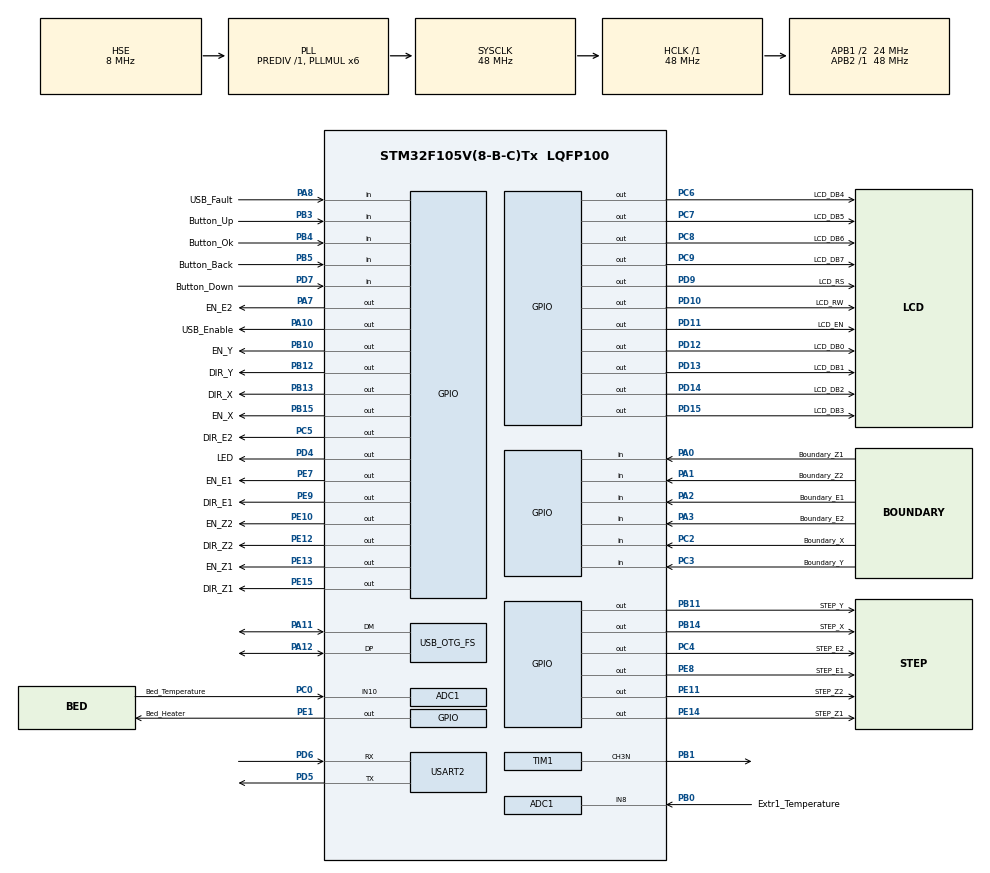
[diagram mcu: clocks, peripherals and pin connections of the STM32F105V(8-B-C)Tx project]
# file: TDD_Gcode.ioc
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ADC1.Channel-2\#ChannelRegularConversion=ADC_CHANNEL_8
ADC1.EnableRegularConversion=ENABLE
ADC1.NbrOfConversionFlag=1
ADC1.Rank-2\#ChannelRegularConversion=1
ADC1.SamplingTime-2\#ChannelRegularConversion=ADC_SAMPLETIME_1CYCLE_5
ADC1.master=1
FATFS._CODE_PAGE=866
FATFS._MAX_SS=4096
FATFS._USE_LFN=1
Mcu.Family=STM32F1
Mcu.Name=STM32F105V(8-B-C)Tx
Mcu.Package=LQFP100
NVIC.OTG_FS_IRQn=true\:0\:0\:false\:false\:true\:false\:true
NVIC.PriorityGroup=NVIC_PRIORITYGROUP_4
NVIC.TIM3_IRQn=true\:1\:0\:true\:false\:true\:true\:true
NVIC.TIM4_IRQn=true\:0\:0\:true\:false\:true\:true\:true
NVIC.TIM5_IRQn=true\:0\:0\:false\:false\:true\:true\:true
NVIC.TIM6_IRQn=true\:0\:0\:false\:false\:true\:true\:true
NVIC.TIM7_IRQn=true\:0\:0\:false\:false\:true\:true\:true
OSC_IN.Mode=HSE-External-Oscillator
OSC_IN.Signal=RCC_OSC_IN
OSC_OUT.Mode=HSE-External-Oscillator
OSC_OUT.Signal=RCC_OSC_OUT
PA0-WKUP.GPIO_Label=Boundary_Z1
PA0-WKUP.GPIO_PuPd=GPIO_PULLUP
PA0-WKUP.Signal=GPIO_Input
PA1.GPIO_Label=Boundary_Z2
PA1.GPIO_PuPd=GPIO_PULLUP
PA1.Signal=GPIO_Input
PA10.GPIO_Label=USB_Enable
PA10.Signal=GPIO_Output
PA11.Mode=Host_Only
PA11.Signal=USB_OTG_FS_DM
PA12.Mode=Host_Only
PA12.Signal=USB_OTG_FS_DP
PA13.Mode=Serial_Wire
PA13.Signal=SYS_JTMS-SWDIO
PA14.Mode=Serial_Wire
PA14.Signal=SYS_JTCK-SWCLK
PA2.GPIO_Label=Boundary_E1
PA2.GPIO_PuPd=GPIO_PULLUP
PA2.Signal=GPIO_Input
PA3.GPIO_Label=Boundary_E2
PA3.GPIO_PuPd=GPIO_PULLUP
PA3.Signal=GPIO_Input
PA7.GPIO_Label=EN_E2
PA7.Signal=GPIO_Output
PA8.GPIO_Label=USB_Fault
PA8.Signal=GPIO_Input
PB0.GPIO_Label=Extr1_Temperature
PB0.Signal=ADCx_IN8
PB1.Mode=PWM Generation3 CH3N
PB1.Signal=TIM1_CH3N
PB10.GPIO_Label=EN_Y
PB10.Signal=GPIO_Output
PB11.GPIO_Label=STEP_Y
PB11.Signal=GPIO_Output
PB12.GPIO_Label=DIR_Y
PB12.Signal=GPIO_Output
PB13.GPIO_Label=DIR_X
PB13.Signal=GPIO_Output
PB14.GPIO_Label=STEP_X
PB14.Signal=GPIO_Output
PB15.GPIO_Label=EN_X
PB15.Signal=GPIO_Output
PB3.GPIO_Label=Button_Up
PB3.GPIO_PuPd=GPIO_PULLDOWN
PB3.Signal=GPIO_Input
PB4.GPIO_Label=Button_Ok
PB4.GPIO_PuPd=GPIO_PULLDOWN
PB4.Signal=GPIO_Input
PB5.GPIO_Label=Button_Back
PB5.GPIO_PuPd=GPIO_PULLDOWN
PB5.Signal=GPIO_Input
PC0.GPIO_Label=Bed_Temperature
PC0.Signal=ADCx_IN10
PC2.GPIO_Label=Boundary_X
PC2.GPIO_PuPd=GPIO_PULLUP
PC2.Signal=GPIO_Input
PC3.GPIO_Label=Boundary_Y
PC3.GPIO_PuPd=GPIO_PULLUP
PC3.Signal=GPIO_Input
PC4.GPIO_Label=STEP_E2
PC4.Signal=GPIO_Output
PC5.GPIO_Label=DIR_E2
PC5.Signal=GPIO_Output
PC6.GPIO_Label=LCD_DB4
PC6.Signal=GPIO_Output
PC7.GPIO_Label=LCD_DB5
PC7.Signal=GPIO_Output
PC8.GPIO_Label=LCD_DB6
PC8.Signal=GPIO_Output
PC9.GPIO_Label=LCD_DB7
PC9.Signal=GPIO_Output
PD10.GPIO_Label=LCD_RW
PD10.Signal=GPIO_Output
PD11.GPIO_Label=LCD_EN
PD11.Signal=GPIO_Output
PD12.GPIO_Label=LCD_DB0
PD12.Signal=GPIO_Output
PD13.GPIO_Label=LCD_DB1
PD13.Signal=GPIO_Output
PD14.GPIO_Label=LCD_DB2
PD14.Signal=GPIO_Output
PD15.GPIO_Label=LCD_DB3
PD15.Signal=GPIO_Output
PD4.GPIO_Label=LED
PD4.Signal=GPIO_Output
PD5.Mode=Asynchronous
PD5.Signal=USART2_TX
PD6.GPIO_PuPd=GPIO_NOPULL
PD6.Mode=Asynchronous
PD6.Signal=USART2_RX
PD7.GPIO_Label=Button_Down
PD7.GPIO_PuPd=GPIO_PULLDOWN
PD7.Signal=GPIO_Input
PD9.GPIO_Label=LCD_RS
PD9.Signal=GPIO_Output
PE1.GPIO_Label=Bed_Heater
PE1.Signal=GPIO_Output
PE10.GPIO_Label=EN_Z2
PE10.Signal=GPIO_Output
PE11.GPIO_Label=STEP_Z2
PE11.Signal=GPIO_Output
PE12.GPIO_Label=DIR_Z2
PE12.Signal=GPIO_Output
PE13.GPIO_Label=EN_Z1
PE13.Signal=GPIO_Output
PE14.GPIO_Label=STEP_Z1
PE14.Signal=GPIO_Output
PE15.GPIO_Label=DIR_Z1
PE15.Signal=GPIO_Output
PE7.GPIO_Label=EN_E1
PE7.Signal=GPIO_Output
PE8.GPIO_Label=STEP_E1
PE8.Signal=GPIO_Output
PE9.GPIO_Label=DIR_E1
PE9.Signal=GPIO_Output
ProjectManager.HeapSize=0x200
ProjectManager.StackSize=0x400
ProjectManager.TargetToolchain=Makefile
RCC.ADCPresc=RCC_ADCPCLK2_DIV4
RCC.AHBFreq_Value=48000000
RCC.APB1CLKDivider=RCC_HCLK_DIV2
RCC.APB1Freq_Value=24000000
RCC.APB1TimFreq_Value=48000000
RCC.APB2Freq_Value=48000000
RCC.APB2TimFreq_Value=48000000
RCC.HCLKFreq_Value=48000000
RCC.HSICalibrationValue=8
RCC.PLLMUL=RCC_PLL_MUL6
RCC.SYSCLKFreq_VALUE=48000000
RCC.SYSCLKSource=RCC_SYSCLKSOURCE_PLLCLK
RCC.USBFreq_Value=48000000
RCC.USBPrescaler=RCC_USBCLKSOURCE_PLL_DIV2
SH.ADCx_IN10.0=ADC1_IN10,IN10
SH.ADCx_IN8.0=ADC1_IN8,IN8
TIM1.AutoReloadPreload=TIM_AUTORELOAD_PRELOAD_ENABLE
TIM1.Channel-PWM\ Generation3\ CH3N=TIM_CHANNEL_3
TIM1.Prescaler=11
TIM3.Period=100
TIM3.Prescaler=80
TIM4.Period=100
TIM4.Prescaler=10
TIM5.Period=8000
TIM5.Prescaler=600
TIM6.AutoReloadPreload=TIM_AUTORELOAD_PRELOAD_ENABLE
TIM6.Period=10000
TIM6.Prescaler=720
TIM7.AutoReloadPreload=TIM_AUTORELOAD_PRELOAD_ENABLE
TIM7.Period=100
TIM7.Prescaler=71
USART2.VirtualMode=VM_ASYNC
USB_HOST.BSP.number=1
USB_HOST.USBH_DEBUG_LEVEL=3
USB_HOST.USBH_HandleTypeDef=hUsbHostFS
USB_HOST.VirtualModeFS=Msc
USB_HOST0.BSP.STBoard=false
USB_HOST0.BSP.api=Unknown
USB_HOST0.BSP.i2caddr=0
USB_HOST0.BSP.instance=PA10
USB_HOST0.BSP.ip=GPIO
USB_HOST0.BSP.mode=Output
USB_HOST0.BSP.name=Drive_VBUS_FS
USB_HOST0.BSP.solution=PA10
USB_OTG_FS.Sof_enable=ENABLE
USB_OTG_FS.VirtualMode=Host_Only
USB_OTG_FS.speed=HCD_SPEED_FULL
VP_FATFS_VS_USB.Mode=USB
VP_TIM1_VS_ClockSourceINT.Mode=Internal
VP_TIM3_VS_ClockSourceINT.Mode=Internal
VP_TIM4_VS_ClockSourceINT.Mode=Internal
VP_TIM5_VS_ClockSourceINT.Mode=Internal
VP_TIM6_VS_ClockSourceINT.Mode=Enable_Timer
VP_TIM7_VS_ClockSourceINT.Mode=Enable_Timer
VP_USB_HOST_VS_USB_HOST_MSC_FS.Mode=MSC_FS
board=custom

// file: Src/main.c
/* USER CODE BEGIN Header */
/**
  ******************************************************************************
  * @file           : main.c
  * @brief          : Main program body
  ******************************************************************************
  * @attention
  *
  * <h2><center>&copy; Copyright (c) 2020 STMicroelectronics.
  * All rights reserved.</center></h2>
  *
  * This software component is licensed by ST under Ultimate Liberty license
  * SLA0044, the "License"; You may not use this file except in compliance with
  * the License. You may obtain a copy of the License at:
  *                             www.st.com/SLA0044
  *
  ******************************************************************************
  */
/* USER CODE END Header */
#include "main.h"
#include "adc.h"
#include "fatfs.h"
#include "tim.h"
#include "usart.h"
#include "usb_host.h"
#include "gpio.h"

/* USER CODE BEGIN Includes */
#include <wchar.h>

#include "TextConverter_LCD.h"
#include "MainMenu_Menu.h"
#include "Constructor_Menu.h"
#include "State_USBdrive.h"
#include "Driver_USBdrive.h"

#include "GcodeConverter_Gcode.h"
#include "Descritization_Gcode.h"
#include "Buffer_Gcode.h"
#include "VirtualPrinters_Gcode.h"
#include "temperature.h"
#include "coordinates.h"
#include "Driver_Motors.h"
#include "Boundary_Gcode.h"
/* USER CODE END Includes */

/* USER CODE BEGIN PV */
static uint8_t bed_pwm = 0;
command_Gcode current_command_Gcode;
/* USER CODE END PV */

void SystemClock_Config(void);
void MX_USB_HOST_Process(void);

/* USER CODE BEGIN 0 */
#if defined(__GNUC__)
int _write(int fd, char * ptr, int len)
{
  HAL_UART_Transmit(&huart2, (uint8_t *) ptr, len, HAL_MAX_DELAY);
  return len;
}
#elif defined (__ICCARM__)
#include "LowLevelIOInterface.h"
size_t __write(int handle, const unsigned char * buffer, size_t size)
{
  HAL_UART_Transmit(&huart2, (uint8_t *) buffer, size, HAL_MAX_DELAY);
  return size;
}
#elif defined (__CC_ARM)
int fputc(int ch, FILE *f)
{
    HAL_UART_Transmit(&huart2, (uint8_t *)&ch, 1, HAL_MAX_DELAY);
    return ch;
}
#endif
/* USER CODE END 0 */

int main(void)
{

  /* MCU Configuration--------------------------------------------------------*/

  /* Reset of all peripherals, Initializes the Flash interface and the Systick. */
  HAL_Init();

  /* Configure the system clock */
  SystemClock_Config();

  /* Initialize all configured peripherals */
  MX_GPIO_Init();
  MX_USART2_UART_Init();
  MX_FATFS_Init();
  MX_USB_HOST_Init();
  MX_TIM3_Init();
  MX_TIM4_Init();
  MX_TIM5_Init();
  MX_ADC1_Init();
  MX_TIM1_Init();
  MX_TIM6_Init();
  MX_TIM7_Init();
  /* USER CODE BEGIN 2 */
  HAL_TIM_Base_Start_IT(&htim3);
  HAL_NVIC_EnableIRQ(TIM3_IRQn);
  HAL_TIM_Base_Start_IT(&htim4);
  HAL_NVIC_EnableIRQ(TIM4_IRQn);
  create_coordinates();
  HAL_TIM_Base_Start_IT(&htim5);
  HAL_NVIC_EnableIRQ(TIM5_IRQn);

  HAL_TIM_Base_Start(&htim1);
  HAL_TIMEx_PWMN_Start(&htim1, TIM_CHANNEL_3);

  HAL_TIM_Base_Start_IT(&htim6);
  HAL_TIM_Base_Start_IT(&htim7);

  createGcodeConverter_Gcode();
  createDescretization_Gcode();
  createDescreteCommandBuffer_Gcode();
  createCommandBuffer_Gcode();
  virtualPrintersCreate_Gcode();

  HAL_Delay(500);
  create_TextConverter_LCD();
  setMainMenu_Menu();
  createState_USBdrive();
  createDriver_USBdrive();
  init_Temperature();
  createBoundary_Gcode();

  putLine_TextConverter_LCD(getTitle_Menu(), 1);  updateLine_TextConverter_LCD(1);
  wchar_t* currName = (wchar_t*) getName_Menu();  currName[0] = *L">";
  putLine_TextConverter_LCD(currName, 2);         updateLine_TextConverter_LCD(2);  currName[0] = *L" ";
  moveDown_Menu();
  putLine_TextConverter_LCD(getName_Menu(), 3);   updateLine_TextConverter_LCD(3);
  moveDown_Menu();
  putLine_TextConverter_LCD(getName_Menu(), 4);   updateLine_TextConverter_LCD(4);
  moveToTheFirstNode_Menu();

//__HAL_TIM_SET_COMPARE(&htim1, TIM_CHANNEL_3, 50000);
  /*
  for (uint16_t i=0; i<65535; i++){
    __HAL_TIM_SET_COMPARE(&htim1, TIM_CHANNEL_3, i);
    HAL_Delay(1);
  }
  */

  /* USER CODE END 2 */

  /* Infinite loop */
  /* USER CODE BEGIN WHILE */
  //setExtruder1_Temperature(220);
  //setBed_Temperature(60);
  disable_Motors();
  while (1)
  {
    /* USER CODE END WHILE */
    MX_USB_HOST_Process();

    /* USER CODE BEGIN 3 */
    if (HAL_GPIO_ReadPin(Button_Down_GPIO_Port, Button_Down_Pin) & GPIO_PIN_SET)  getCurrentNode_Menu()->pfnDown();
    if (HAL_GPIO_ReadPin(Button_Up_GPIO_Port, Button_Up_Pin) & GPIO_PIN_SET)      getCurrentNode_Menu()->pfnUp();
    if (HAL_GPIO_ReadPin(Button_Ok_GPIO_Port, Button_Ok_Pin) & GPIO_PIN_SET)      getCurrentNode_Menu()->pfnOk();
    if (HAL_GPIO_ReadPin(Button_Back_GPIO_Port, Button_Back_Pin) & GPIO_PIN_SET)  getCurrentNode_Menu()->pfnBack();

    if (getState_USBdrive() == READY_USBDRIVE)  HAL_GPIO_WritePin(LED_GPIO_Port, LED_Pin, GPIO_PIN_SET);
    else                                        HAL_GPIO_WritePin(LED_GPIO_Port, LED_Pin, GPIO_PIN_RESET);
    //printf("%d %d\n", (uint8_t)getExtruder1_Temperature(), (uint8_t)getBed_Temperature());
    //HAL_Delay(100);

  }
  /* USER CODE END 3 */
}

void SystemClock_Config(void)
{
  RCC_OscInitTypeDef RCC_OscInitStruct = {0};
  RCC_ClkInitTypeDef RCC_ClkInitStruct = {0};
  RCC_PeriphCLKInitTypeDef PeriphClkInit = {0};

  /** Initializes the RCC Oscillators according to the specified parameters
  * in the RCC_OscInitTypeDef structure.
  */
  RCC_OscInitStruct.OscillatorType = RCC_OSCILLATORTYPE_HSE;
  RCC_OscInitStruct.HSEState = RCC_HSE_ON;
  RCC_OscInitStruct.HSEPredivValue = RCC_HSE_PREDIV_DIV1;
  RCC_OscInitStruct.HSIState = RCC_HSI_ON;
  RCC_OscInitStruct.Prediv1Source = RCC_PREDIV1_SOURCE_HSE;
  RCC_OscInitStruct.PLL.PLLState = RCC_PLL_ON;
  RCC_OscInitStruct.PLL.PLLSource = RCC_PLLSOURCE_HSE;
  RCC_OscInitStruct.PLL.PLLMUL = RCC_PLL_MUL6;
  RCC_OscInitStruct.PLL2.PLL2State = RCC_PLL_NONE;
  if (HAL_RCC_OscConfig(&RCC_OscInitStruct) != HAL_OK)
  {
    Error_Handler();
  }
  /** Initializes the CPU, AHB and APB buses clocks
  */
  RCC_ClkInitStruct.ClockType = RCC_CLOCKTYPE_HCLK|RCC_CLOCKTYPE_SYSCLK
                              |RCC_CLOCKTYPE_PCLK1|RCC_CLOCKTYPE_PCLK2;
  RCC_ClkInitStruct.SYSCLKSource = RCC_SYSCLKSOURCE_PLLCLK;
  RCC_ClkInitStruct.AHBCLKDivider = RCC_SYSCLK_DIV1;
  RCC_ClkInitStruct.APB1CLKDivider = RCC_HCLK_DIV2;
  RCC_ClkInitStruct.APB2CLKDivider = RCC_HCLK_DIV1;

  if (HAL_RCC_ClockConfig(&RCC_ClkInitStruct, FLASH_LATENCY_1) != HAL_OK)
  {
    Error_Handler();
  }
  PeriphClkInit.PeriphClockSelection = RCC_PERIPHCLK_ADC|RCC_PERIPHCLK_USB;
  PeriphClkInit.AdcClockSelection = RCC_ADCPCLK2_DIV4;
  PeriphClkInit.UsbClockSelection = RCC_USBCLKSOURCE_PLL_DIV2;
  if (HAL_RCCEx_PeriphCLKConfig(&PeriphClkInit) != HAL_OK)
  {
    Error_Handler();
  }
  /** Configure the Systick interrupt time
  */
  __HAL_RCC_PLLI2S_ENABLE();
}

/* USER CODE BEGIN 4 */
void HAL_TIM_PeriodElapsedCallback(TIM_HandleTypeDef *htim)
{
  if (htim->Instance == TIM3) // Virtual printer evaluation & boundaries check
  {
    if(HAL_GPIO_ReadPin(Boundary_Z1_GPIO_Port, Boundary_Z1_Pin) & GPIO_PIN_SET) setBoundaryZ1isReached_Gcode(); else setBoundaryZ1isNotReached_Gcode();
    if(HAL_GPIO_ReadPin(Boundary_Z2_GPIO_Port, Boundary_Z2_Pin) & GPIO_PIN_SET) setBoundaryZ2isReached_Gcode(); else setBoundaryZ2isNotReached_Gcode();
    if(evaluatePrinter_Gcode())
    {
      sendCommandToPrinter_Gcode(firstOutCommandBuffer_Gcode());
      eraseFirstCommandBuffer_Gcode();
    }
  }
  if (htim->Instance == TIM4) // Motors evaluation
  {
    evaluate_Motors();
  }
  if (htim->Instance == TIM5) // Debug through UART
  {
    printf("{%ld, %ld, %ld, %d, %d}\n",
          getZ_coordinates(),
          getZ1_coordinates(),
          getZ2_coordinates(),
          boundaryZ1isReached_Gcode(),
          boundaryZ2isReached_Gcode()
          );
    /*printf("{%d, %d , %d , %d, %ld }\n",
          (int)round(getBed_Temperature()),
          (int)round(getExtruder1_Temperature()),
          (int)round(getTargetBed_Temperature()),
          (int)round(getTargetExtruder1_Temperature()),
          getX_coordinates()
          );*/
    /*
    printf("{%d, %d , %d , %d }\n",
          (int)round(getBed_Temperature()),
          (int)round(getExtruder1_Temperature()),
          (int)round(getTargetBed_Temperature()),
          (int)round(getTargetExtruder1_Temperature())
          );
    */
    /*
    printf("{%ld, %ld, %ld, %ld, %d, %d, %d, %d }\n",
          getX_coordinates(),
          getY_coordinates(),
          getZ_coordinates(),
          getE_coordinates(),
          (int)round(getCurrentSpeedX_Gcode()),
          (int)round(getCurrentSpeedY_Gcode()),
          (int)round(getCurrentSpeedZ_Gcode()),
          (int)round(getCurrentSpeedE_Gcode()));
    */
  }
  if (htim->Instance == TIM6) //Temperature Control
  {

    ADC_ChannelConfTypeDef sConfig = {0};

    sConfig.Channel = ADC_CHANNEL_8;
    sConfig.Rank = ADC_REGULAR_RANK_1;
    sConfig.SamplingTime = ADC_SAMPLETIME_239CYCLES_5;
    HAL_ADC_ConfigChannel(&hadc1, &sConfig);

    HAL_ADC_Start(&hadc1);
    if (HAL_ADC_PollForConversion(&hadc1, 10000) == HAL_OK)
    {
      regNewTemperature_Extruder1_Temperature(ADC2Temperature_Extruder1_Temperature(HAL_ADC_GetValue(&hadc1)));
    }
    sConfig.Channel = ADC_CHANNEL_10;
    sConfig.Rank = ADC_REGULAR_RANK_1;
    sConfig.SamplingTime = ADC_SAMPLETIME_239CYCLES_5;
    HAL_ADC_ConfigChannel(&hadc1, &sConfig);
    HAL_ADC_Start(&hadc1);
    if (HAL_ADC_PollForConversion(&hadc1, 10000) == HAL_OK)
    {
      regNewTemperature_Bed_Temperature(ADC2Temperature_Bed_Temperature(HAL_ADC_GetValue(&hadc1)));
    }
    pidTimerCallBack_Temperature();
  }
  if (htim->Instance == TIM7) // PWM for temperature
  {
    static uint8_t i;
    if (++i <= bed_pwm)
    {
      HAL_GPIO_WritePin(Bed_Heater_GPIO_Port, Bed_Heater_Pin, GPIO_PIN_SET);
    }
    else
    {
      HAL_GPIO_WritePin(Bed_Heater_GPIO_Port, Bed_Heater_Pin, GPIO_PIN_RESET);
    }
  }
}

void setExtruder1_PWM(uint16_t val)
{
  __HAL_TIM_SET_COMPARE(&htim1, TIM_CHANNEL_3, val);
}
void setBed_PWM(uint16_t val)
{
  bed_pwm = val;
}
/* USER CODE END 4 */

void Error_Handler(void)
{
}

/************************ (C) COPYRIGHT STMicroelectronics *****END OF FILE****/
